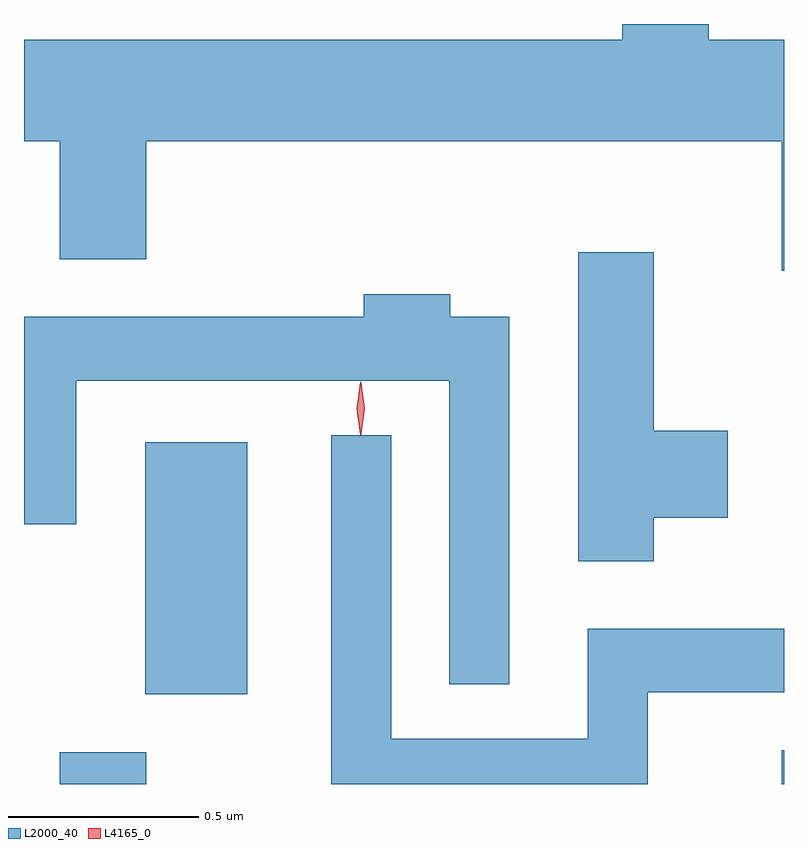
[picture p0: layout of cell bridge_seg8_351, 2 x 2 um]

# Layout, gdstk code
import gdstk
lib = gdstk.Library(unit=1e-6, precision=1e-09)
def R(c, l, rs):  # rectangles x0, y0, x1, y1
    for r in rs: c.add(gdstk.rectangle(r[:2], r[2:], *l))
def P(c, l, *ps):  # polygons
    for p in ps: c.add(gdstk.Polygon(p, *l))
L2000_40 = (2000, 40)
L4165_0 = (4165, 0)

bridge_seg8_351 = lib.new_cell('bridge_seg8_351')
R(bridge_seg8_351, L2000_40, [(936.171,1905.765,936.399,1905.849), (938.071,1905.765,938.077,1905.854), (936.396,1906.001,936.664,1906.664)])
P(bridge_seg8_351, L2000_40, [(936.077,1907.456),(936.171,1907.456),(936.171,1907.146),(936.399,1907.146),(936.399,1907.456),(938.071,1907.456),(938.071,1907.116),(938.077,1907.116),(938.077,1907.724),(937.879,1907.724),(937.879,1907.765),(937.651,1907.765),(937.651,1907.724),(936.077,1907.724)],
  [(937.734,1906.466),(937.929,1906.466),(937.929,1906.694),(937.734,1906.694),(937.734,1907.164),(937.536,1907.164),(937.536,1906.351),(937.734,1906.351)],
  [(937.354,1906.994),(937.199,1906.994),(937.199,1907.054),(936.971,1907.054),(936.971,1906.994),(936.077,1906.994),(936.077,1906.448),(936.214,1906.448),(936.214,1906.826),(937.196,1906.826),(937.196,1906.028),(937.354,1906.028)],
  [(937.719,1906.006),(938.077,1906.006),(938.077,1906.174),(937.561,1906.174),(937.561,1905.884),(937.044,1905.884),(937.044,1906.683),(936.886,1906.683),(936.886,1905.765),(937.719,1905.765)])
P(bridge_seg8_351, L4165_0, [(936.963,1906.683),(936.962,1906.684),(936.953,1906.753),(936.962,1906.822),(936.963,1906.823),(936.964,1906.822),(936.973,1906.753),(936.964,1906.684)],
  [(936.963,1906.687),(936.953,1906.754),(936.963,1906.82),(936.964,1906.82),(936.964,1906.82),(936.974,1906.754),(936.964,1906.687),(936.964,1906.687)])

lib.write_gds('bridge_seg8_351.gds')
